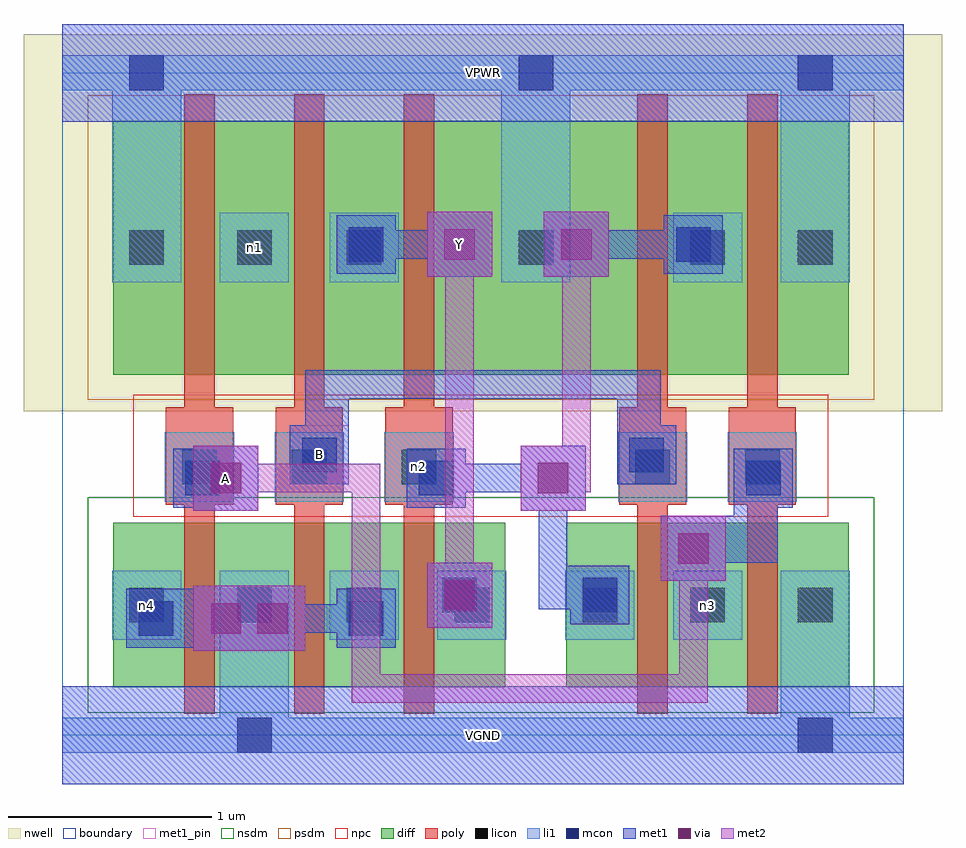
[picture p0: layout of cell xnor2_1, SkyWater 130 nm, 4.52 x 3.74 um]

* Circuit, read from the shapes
.subckt xnor2_1 A B VGND VPWR Y n1 n2 n3 n4
XM1 VGND A n4 VSUBS sky130_fd_pr__nfet_01v8 w=0.81 l=0.15
XM2 n4 B VGND VSUBS sky130_fd_pr__nfet_01v8 w=0.81 l=0.15
XM3 Y n2 n4 VSUBS sky130_fd_pr__nfet_01v8 w=0.81 l=0.15
XM4 n3 B n2 VSUBS sky130_fd_pr__nfet_01v8 w=0.81 l=0.15
XM5 VGND A n3 VSUBS sky130_fd_pr__nfet_01v8 w=0.81 l=0.15
XM6 n1 A VPWR n5 sky130_fd_pr__pfet_01v8 w=1.25 l=0.15
XM7 Y B n1 n5 sky130_fd_pr__pfet_01v8 w=1.25 l=0.15
XM8 VPWR n2 Y n5 sky130_fd_pr__pfet_01v8 w=1.25 l=0.15
XM9 n2 B VPWR n5 sky130_fd_pr__pfet_01v8 w=1.25 l=0.15
XM10 VPWR A n2 n5 sky130_fd_pr__pfet_01v8 w=1.25 l=0.15
.ends

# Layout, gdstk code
import gdstk
lib = gdstk.Library(unit=1e-6, precision=1e-09)
def R(c, l, rs):  # rectangles x0, y0, x1, y1
    for r in rs: c.add(gdstk.rectangle(r[:2], r[2:], *l))
def A(c, l, x, y, w, h, nx, ny, dx, dy):  # array of equal rectangles
    R(c, l, [(x+i*dx, y+j*dy, x+i*dx+w, y+j*dy+h) for i in range(nx) for j in range(ny)])
nwell = (64, 20)
diff = (65, 20)
poly = (66, 20)
licon = (66, 44)
li1 = (67, 20)
mcon = (67, 44)
met1_pin = (68, 16)
met1 = (68, 20)
via = (68, 44)
met2 = (69, 20)
nsdm = (93, 44)
psdm = (94, 20)
npc = (95, 20)
boundary = (235, 4)

xnor2_1 = lib.new_cell('xnor2_1')
R(xnor2_1, nwell, [(-0.19,1.595,4.33,3.45), (0,1.595,4.14,3.45)])
R(xnor2_1, diff, [(0.25,0.235,2.18,1.045), (2.48,0.235,3.87,1.045), (0.25,1.775,3.87,3.025)])
A(xnor2_1, poly, 0.6, 0.105, 0.15, 3.05, 3, 1, 0.54, 0)
A(xnor2_1, poly, 0.51, 1.135, 0.33, 0.48, 3, 1, 0.54, 0)
R(xnor2_1, poly, [(2.83,0.105,2.98,3.155), (3.37,0.105,3.52,3.155), (2.74,1.135,3.07,1.615), (3.28,1.135,3.61,1.615)])
A(xnor2_1, licon, 2.56, 0.555, 0.17, 0.17, 3, 1, 0.53, 0)
A(xnor2_1, licon, 0.59, 1.235, 0.17, 0.17, 3, 1, 0.54, 0)
A(xnor2_1, licon, 1.4, 2.315, 0.17, 0.17, 3, 1, 0.845, 0)
R(xnor2_1, licon, [(0.33,0.555,0.5,0.725), (0.86,0.555,1.03,0.725), (1.4,0.555,1.57,0.725), (1.93,0.555,2.1,0.725), (2.82,1.235,2.99,1.405), (3.36,1.235,3.53,1.405), (0.33,2.315,0.5,2.485), (0.86,2.315,1.03,2.485), (3.62,2.315,3.79,2.485)])
A(xnor2_1, li1, 0.505, 1.15, 0.34, 0.34, 3, 1, 0.54, 0)
R(xnor2_1, li1, [(0,-0.085,4.14,0.085), (0.775,-0.085,1.115,0.81), (3.535,-0.085,3.875,0.81), (0.245,0.47,0.585,0.81), (1.315,0.47,1.655,0.81), (1.845,0.47,2.185,0.81), (2.475,0.47,2.815,0.81), (3.005,0.47,3.345,0.81), (2.735,1.15,3.075,1.49), (3.275,1.15,3.615,1.49), (0.245,2.23,0.585,3.345), (0.775,2.23,1.115,2.57), (1.315,2.23,1.655,2.57), (2.16,2.23,2.5,3.345), (3.005,2.23,3.345,2.57), (3.535,2.23,3.875,3.345), (0,3.175,4.14,3.345)])
R(xnor2_1, mcon, [(0.86,-0.085,1.03,0.085), (3.62,-0.085,3.79,0.085), (0.375,0.49,0.545,0.66), (1.41,0.49,1.58,0.66), (1.87,0.605,2.04,0.775), (2.56,0.605,2.73,0.775), (0.605,1.18,0.775,1.35), (1.755,1.18,1.925,1.35), (3.365,1.18,3.535,1.35), (1.18,1.295,1.35,1.465), (2.79,1.295,2.96,1.465), (1.41,2.33,1.58,2.5), (3.02,2.33,3.19,2.5), (0.33,3.175,0.5,3.345), (2.245,3.175,2.415,3.345), (3.62,3.175,3.79,3.345)])
R(xnor2_1, met1_pin, [(0,-0.24,4.14,0.24), (0.645,1.105,0.965,1.425), (1.12,1.235,1.41,1.525), (1.795,2.255,2.115,2.575), (0,3.02,4.14,3.5)])
R(xnor2_1, met1, [(0,-0.24,4.14,0.24), (0.645,0.415,0.965,0.735), (0.875,0.415,1.195,0.735), (0.315,0.43,0.605,0.72), (0.605,0.43,0.645,0.72), (1.35,0.43,1.64,0.72), (0.39,0.505,0.875,0.645), (0.965,0.505,1.565,0.645), (1.795,0.53,2.115,0.85), (1.81,0.545,2.1,0.835), (2.5,0.545,2.79,0.835), (2.345,0.62,2.485,1.335), (2.345,0.62,2.715,0.76), (2.485,0.62,2.5,0.835), (2.945,0.76,3.265,1.08), (3.035,0.85,3.52,0.99), (3.265,0.85,3.38,1.08), (3.38,0.85,3.52,1.335), (3.305,0.99,3.52,1.12), (0.645,1.105,0.965,1.425), (2.255,1.105,2.575,1.425), (0.545,1.12,0.835,1.41), (1.695,1.12,1.985,1.41), (3.305,1.12,3.595,1.41), (0.62,1.195,0.875,1.335), (1.77,1.195,2.485,1.335), (1.12,1.235,1.41,1.525), (2.73,1.235,3.02,1.525), (1.195,1.31,1.335,1.795), (2.805,1.31,2.945,1.795), (1.195,1.525,1.41,1.655), (2.73,1.525,2.945,1.655), (1.195,1.655,2.945,1.795), (1.795,2.255,2.115,2.575), (2.37,2.255,2.69,2.575), (1.35,2.27,1.64,2.56), (2.96,2.27,3.25,2.56), (1.425,2.345,2.025,2.485), (2.46,2.345,3.175,2.485), (0,3.02,4.14,3.5)])
R(xnor2_1, via, [(0.73,0.5,0.88,0.65), (0.96,0.5,1.11,0.65), (1.88,0.615,2.03,0.765), (3.03,0.845,3.18,0.995), (0.73,1.19,0.88,1.34), (2.34,1.19,2.49,1.34), (1.88,2.34,2.03,2.49), (2.455,2.34,2.605,2.49)])
R(xnor2_1, met2, [(1.425,0.16,1.565,1.335), (1.425,0.16,3.175,0.3), (3.035,0.16,3.175,0.99), (0.645,0.415,0.965,0.735), (0.875,0.415,1.195,0.735), (0.735,0.505,1.105,0.645), (1.795,0.53,2.115,0.85), (1.885,0.62,2.025,2.485), (2.945,0.76,3.265,1.08), (0.645,1.105,0.965,1.425), (2.255,1.105,2.575,1.425), (0.735,1.195,1.565,1.335), (2.345,1.195,2.6,1.335), (2.46,1.195,2.6,2.485), (1.795,2.255,2.115,2.575), (2.37,2.255,2.69,2.575)])
R(xnor2_1, nsdm, [(0.125,0.11,3.995,1.17)])
R(xnor2_1, psdm, [(0.125,1.65,3.995,3.15)])
R(xnor2_1, npc, [(0.35,1.075,3.77,1.675)])
R(xnor2_1, boundary, [(0,0,4.14,3.26)])
xnor2_1.add(gdstk.Label('n2', (1.755,1.32), layer=67, texttype=5))
xnor2_1.add(gdstk.Label('n4', (0.415,0.64), layer=67, texttype=5))
xnor2_1.add(gdstk.Label('n3', (3.175,0.64), layer=67, texttype=5))
xnor2_1.add(gdstk.Label('n1', (0.945,2.4), layer=67, texttype=5))
xnor2_1.add(gdstk.Label('A', (0.805,1.265), layer=68, texttype=5))
xnor2_1.add(gdstk.Label('B', (1.265,1.38), layer=68, texttype=5))
xnor2_1.add(gdstk.Label('Y', (1.955,2.415), layer=68, texttype=5))
xnor2_1.add(gdstk.Label('VPWR', (2.07,3.26), layer=68, texttype=5))
xnor2_1.add(gdstk.Label('VGND', (2.07,0), layer=68, texttype=5))
xnor2_1.add(gdstk.Label('A', (0.805,1.265), layer=68, texttype=16))
xnor2_1.add(gdstk.Label('B', (1.265,1.38), layer=68, texttype=16))
xnor2_1.add(gdstk.Label('Y', (1.955,2.415), layer=68, texttype=16))
xnor2_1.add(gdstk.Label('VPWR', (2.07,3.26), layer=68, texttype=16))
xnor2_1.add(gdstk.Label('VGND', (2.07,0), layer=68, texttype=16))

lib.write_gds('xnor2_1.gds')
